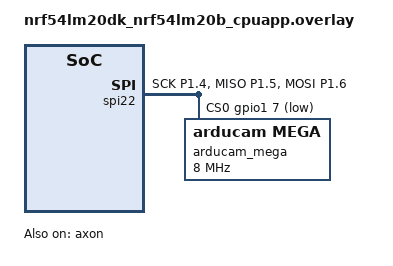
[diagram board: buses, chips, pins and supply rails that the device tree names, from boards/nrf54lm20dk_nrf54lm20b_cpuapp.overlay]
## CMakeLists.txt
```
# Copyright (c) 2026 Nordic Semiconductor
# SPDX-License-Identifier: LicenseRef-Nordic-5-Clause

cmake_minimum_required(VERSION 3.20.0)

# Re-use the arducam_mega DT binding from person_detection. This must come
# before find_package(Zephyr) so the binding is picked up during DT pass.
list(APPEND DTS_ROOT ${CMAKE_CURRENT_SOURCE_DIR}/../person_detection)

find_package(Zephyr REQUIRED HINTS $ENV{ZEPHYR_BASE})
project(finger_counter)

target_sources(app PRIVATE
  src/main.c
  ../person_detection/src/drivers/arducam_mega.c
)

target_include_directories(app PRIVATE
  ../person_detection/src/drivers
)

# Edge Impulse SDK glue (mirrors samples/edge_impulse/hello_ei).
zephyr_compile_definitions(
  EI_C_LINKAGE=1
  EIDSP_SIGNAL_C_FN_POINTER=1
)

zephyr_compile_options(
  -Wno-double-promotion
  -Wno-unused
  -Wno-sign-compare
  -Wno-maybe-uninitialized
)

string(CONFIGURE ${CONFIG_EDGE_IMPULSE_PATH} CONFIG_EDGE_IMPULSE_PATH)

if(NOT IS_ABSOLUTE ${CONFIG_EDGE_IMPULSE_PATH})
  set(CONFIG_EDGE_IMPULSE_PATH ${APPLICATION_SOURCE_DIR}/${CONFIG_EDGE_IMPULSE_PATH})
endif()

set(FETCH_CONTENT_NAME edge_impulse)

include(FetchContent)

FetchContent_Declare(
    ${FETCH_CONTENT_NAME}
    URL ${CONFIG_EDGE_IMPULSE_PATH}
)

FetchContent_MakeAvailable(${FETCH_CONTENT_NAME})

if(${CONFIG_NRF_AXON})
  zephyr_compile_definitions(
    NRF_AXON_MODEL_NAME=${CONFIG_NRF_AXON_MODEL_NAME}
  )

  zephyr_include_directories(${edge_impulse_SOURCE_DIR})
  zephyr_include_directories(${edge_impulse_SOURCE_DIR}/nordic-axon-model)
endif()
```

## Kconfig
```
#
# Copyright (c) 2026 Nordic Semiconductor
#
# SPDX-License-Identifier: LicenseRef-Nordic-5-Clause
#

mainmenu "Finger counter inference application"

config EDGE_IMPULSE_PATH
	string "Edge Impulse library path"
	default "finger_counter_v2.zip"
	help
	  Local file path of the Edge Impulse deployment archive. Build with
	  the "Nordic Axon NPU Library" deployment format from Edge Impulse
	  Studio, place the resulting zip into the application directory,
	  and rename it (or update this option) to match.

config FINGER_COUNTER_INFERENCE_INTERVAL_MS
	int "Delay between inferences (ms)"
	default 200
	help
	  Sleep between consecutive inferences. 0 disables the sleep so the
	  app runs as fast as the camera + Axon allow.

source "Kconfig.zephyr"
```

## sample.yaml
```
sample:
  description: Live finger-count classification using Edge Impulse on Axon NPU
  name: finger_counter

common:
  sysbuild: true
  build_only: true
  tags:
    - ci_build
    - sysbuild

tests:
  applications.finger_counter:
    platform_allow:
      - nrf54lm20dk/nrf54lm20b/cpuapp
    integration_platforms:
      - nrf54lm20dk/nrf54lm20b/cpuapp
```

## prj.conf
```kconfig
# Copyright (c) 2026 Nordic Semiconductor
# SPDX-License-Identifier: LicenseRef-Nordic-5-Clause

# --- Logging on the J-Link VCOM (no binary streaming here, so we use UART)
CONFIG_PRINTK=y
CONFIG_LOG=y
CONFIG_LOG_MODE_IMMEDIATE=y
CONFIG_CBPRINTF_FP_SUPPORT=y

# --- C++ runtime required by Edge Impulse SDK
CONFIG_CPP=y
CONFIG_STD_CPP11=y
CONFIG_REQUIRES_FULL_LIBCPP=y
CONFIG_FP16=n
CONFIG_FPU=y

# --- Edge Impulse SDK
CONFIG_EDGE_IMPULSE_SDK=y

# --- Axon NPU. The interlayer / psum buffer sizes and the model name MUST be
# overridden from the conf_overlay.conf shipped inside the EI deployment zip.
# Build with:
#   west build -- -DEXTRA_CONF_FILE=<unzipped>/conf_overlay.conf
# OR copy the values into a boards/<board>.conf overlay.
CONFIG_NRF_AXON=y
CONFIG_NRF_AXON_INTERLAYER_BUFFER_SIZE=262144
CONFIG_NRF_AXON_PSUM_BUFFER_SIZE=0

# --- Camera (Arducam Mega on SPIM22)
CONFIG_SPI=y
CONFIG_VIDEO=y
CONFIG_VIDEO_BUFFER_POOL_HEAP_SIZE=2200
CONFIG_VIDEO_BUFFER_POOL_NUM_MAX=4

# --- GPIO for status LED
CONFIG_GPIO=y

# --- Heap. EI's ei_malloc() resolves to picolibc malloc(), NOT k_malloc().
# Picolibc's arena is sized by CONFIG_COMMON_LIBC_MALLOC_ARENA_SIZE. The
# Zephyr default of -1 means "use all remaining RAM" which is exactly what
# we want — the DSP block needs a single ~192 KiB allocation
# (1 * EI_CLASSIFIER_NN_INPUT_FRAME_SIZE * sizeof(float)) and assorted
# small ones. We deliberately leave CONFIG_HEAP_MEM_POOL_SIZE at 0 because
# it would steal RAM from picolibc's arena.

# --- Misc
CONFIG_ASSERT=y
# The Nordic Axon inferencing engine puts an int8 input_vector[w*h*channels]
# VLA on the main thread's stack (see edge-impulse-sdk/classifier/
# inferencing_engines/nordic_axon.h). For a 128x128 RGB model that's 48 KiB,
# plus ~8 KiB normal stack usage during inference.
CONFIG_MAIN_STACK_SIZE=65536
```

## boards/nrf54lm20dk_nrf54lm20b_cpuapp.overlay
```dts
/*
 * Copyright (c) 2026 Nordic Semiconductor ASA
 * SPDX-License-Identifier: LicenseRef-Nordic-5-Clause
 *
 * Arducam Mega on SPIM22 (same pin map as applications/person_detection)
 * plus Axon NPU enable for Edge Impulse acceleration.
 */

&axon {
	status = "okay";
};

&pinctrl {
	spi22_default: spi22_default {
		group1 {
			psels = <NRF_PSEL(SPIM_SCK, 1, 4)>,
				<NRF_PSEL(SPIM_MISO, 1, 5)>,
				<NRF_PSEL(SPIM_MOSI, 1, 6)>;
			bias-pull-down;
		};
	};

	spi22_sleep: spi22_sleep {
		group1 {
			psels = <NRF_PSEL(SPIM_SCK, 1, 4)>,
				<NRF_PSEL(SPIM_MISO, 1, 5)>,
				<NRF_PSEL(SPIM_MOSI, 1, 6)>;
			bias-pull-down;
			low-power-enable;
		};
	};
};

&spi22 {
	compatible = "nordic,nrf-spim";
	status = "okay";
	pinctrl-0 = <&spi22_default>;
	pinctrl-1 = <&spi22_sleep>;
	pinctrl-names = "default", "sleep";
	overrun-character = <0x00>;
	zephyr,pm-device-runtime-auto;
	cs-gpios = <&gpio1 7 GPIO_ACTIVE_LOW>;

	arducam_mega: arducam-mega@0 {
		compatible = "arducam,mega";
		reg = <0>;
		spi-max-frequency = <8000000>;
		status = "okay";
	};
};
```

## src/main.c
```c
/*
 * Copyright (c) 2026 Nordic Semiconductor ASA
 *
 * SPDX-License-Identifier: LicenseRef-Nordic-5-Clause
 *
 * Live finger-count classification:
 *   - Continuously captures RGB565 frames from an Arducam Mega
 *   - Converts each frame into the packed-0xRRGGBB float layout expected by
 *     the Edge Impulse image processing block
 *   - Runs run_classifier() on the Axon NPU (or CPU, depending on the EI
 *     deployment archive supplied via CONFIG_EDGE_IMPULSE_PATH)
 *   - Prints the top class and confidence to the console / RTT log
 *
 * The Edge Impulse zip must be a "Nordic Axon NPU Library" (or "Zephyr
 * library" for CPU fallback) export from Edge Impulse Studio. The training
 * impulse must use Image input at the resolution defined by EI_CLASSIFIER_INPUT_*
 * macros; this file uses those macros directly so it adapts automatically.
 */

#include <stdint.h>
#include <string.h>

#include <zephyr/device.h>
#include <zephyr/drivers/gpio.h>
#include <zephyr/drivers/video.h>
#include <zephyr/kernel.h>
#include <zephyr/logging/log.h>

#include <edge-impulse-sdk/dsp/numpy_types.h>
#include <edge-impulse-sdk/classifier/ei_classifier_types.h>
/* model_metadata.h (which defines EI_CLASSIFIER_*) is pulled in transitively
 * via ei_classifier_types.h. */

LOG_MODULE_REGISTER(finger_counter, LOG_LEVEL_INF);

#define AE_WARMUP_FRAMES 4

#if EI_CLASSIFIER_INPUT_WIDTH != EI_CLASSIFIER_INPUT_HEIGHT
#warning "Non-square model input; the camera will be configured to width x height directly."
#endif

#define CAM_WIDTH  EI_CLASSIFIER_INPUT_WIDTH
#define CAM_HEIGHT EI_CLASSIFIER_INPUT_HEIGHT
#define FRAME_RGB565_BYTES ((CAM_WIDTH) * (CAM_HEIGHT) * 2)

/* The Image processing block packs one pixel into one float, so the DSP
 * input frame contains width*height floats. EI_CLASSIFIER_RAW_SAMPLE_COUNT
 * holds that value; EI_CLASSIFIER_RAW_SAMPLES_PER_FRAME is unrelated (=1
 * for image impulses). */
BUILD_ASSERT(EI_CLASSIFIER_RAW_SAMPLE_COUNT == (CAM_WIDTH * CAM_HEIGHT),
	"Edge Impulse model expects one float per pixel - verify the impulse "
	"uses the Image input block (RGB).");

/* Captured RGB565 frame buffer (sensor-side). The packed-RGB888 floats EI
 * expects are computed on demand in get_features() so we don't need to keep
 * a second 64 KiB scratch buffer in RAM. */
static uint8_t  rgb565_frame[FRAME_RGB565_BYTES];

/* Snapshot of the first four floats EI actually pulled via get_features().
 * Logged once per inference so we can confirm the model is receiving varying
 * data, not a constant. */
static uint32_t ei_first_pixels[4];
static bool     ei_first_pixels_valid;

static const struct gpio_dt_spec led_active =
	GPIO_DT_SPEC_GET(DT_ALIAS(led0), gpios);

/* See edge-impulse-sdk/classifier/ei_run_classifier.h. */
extern EI_IMPULSE_ERROR run_classifier(signal_t *signal,
				       ei_impulse_result_t *result, bool debug);

static int led_init(const struct gpio_dt_spec *spec)
{
	if (!gpio_is_ready_dt(spec)) {
		return -ENODEV;
	}
	return gpio_pin_configure_dt(spec, GPIO_OUTPUT_INACTIVE);
}

static int capture_one_frame_into_buf(const struct device *video)
{
	size_t total = 0;
	int err;

	while (total < FRAME_RGB565_BYTES) {
		struct video_buffer *vbuf;

		err = video_dequeue(video, &vbuf, K_FOREVER);
		if (err == -EAGAIN) {
			continue;
		}
		if (err) {
			LOG_ERR("video_dequeue failed (err %d)", err);
			return err;
		}

		const size_t room = FRAME_RGB565_BYTES - total;
		const size_t chunk = MIN(vbuf->bytesused, room);

		memcpy(&rgb565_frame[total], vbuf->buffer, chunk);
		total += chunk;

		vbuf->type = VIDEO_BUF_TYPE_OUTPUT;
		(void)video_enqueue(video, vbuf);
	}

	return 0;
}

/* Decode one RGB565 pixel at index `p` into 0x00RRGGBB. */
static inline uint32_t rgb565_pixel(size_t p)
{
	const uint8_t hi = rgb565_frame[p * 2 + 0];
	const uint8_t lo = rgb565_frame[p * 2 + 1];
	const uint16_t pix = ((uint16_t)hi << 8) | lo;

	const uint8_t r5 = (pix >> 11) & 0x1F;
	const uint8_t g6 = (pix >> 5)  & 0x3F;
	const uint8_t b5 =  pix        & 0x1F;

	const uint8_t r8 = (uint8_t)((r5 << 3) | (r5 >> 2));
	const uint8_t g8 = (uint8_t)((g6 << 2) | (g6 >> 4));
	const uint8_t b8 = (uint8_t)((b5 << 3) | (b5 >> 2));

	return ((uint32_t)r8 << 16) | ((uint32_t)g8 << 8) | b8;
}

/* EI signal_t.get_data callback: compute packed-RGB888 floats on the fly from
 * the captured RGB565 buffer. EI's Image processing block treats each float
 * as a uint32 with layout 0x00RRGGBB (see edge-impulse-sdk/classifier/
 * ei_run_dsp.h:extract_image_features). */
static int get_features(size_t offset, size_t length, float *out_ptr)
{
	for (size_t i = 0; i < length; i++) {
		const uint32_t packed = rgb565_pixel(offset + i);
		out_ptr[i] = (float)packed;
	}

	/* PROBE #2: remember the first four pixels EI actually fetched. The
	 * DSP block may request data in any order/chunk, so snapshot the
	 * lowest-offset fetch we see this inference. */
	if (offset == 0 && length >= 4 && !ei_first_pixels_valid) {
		ei_first_pixels[0] = (uint32_t)out_ptr[0];
		ei_first_pixels[1] = (uint32_t)out_ptr[1];
		ei_first_pixels[2] = (uint32_t)out_ptr[2];
		ei_first_pixels[3] = (uint32_t)out_ptr[3];
		ei_first_pixels_valid = true;
	}
	return 0;
}

/* PROBE #1: aggregate camera-side statistics over the freshly captured
 * RGB565 frame. If `meanRGB` and the corner samples don't change when the
 * lens is covered, the camera/SPI side is frozen. */
static void log_camera_stats(void)
{
	uint32_t sum_r = 0, sum_g = 0, sum_b = 0;
	uint8_t  min_lum = 255, max_lum = 0;
	const size_t n = (size_t)CAM_WIDTH * (size_t)CAM_HEIGHT;

	for (size_t p = 0; p < n; p++) {
		const uint32_t px = rgb565_pixel(p);
		const uint8_t r = (px >> 16) & 0xFF;
		const uint8_t g = (px >> 8)  & 0xFF;
		const uint8_t b = (px)       & 0xFF;
		sum_r += r;
		sum_g += g;
		sum_b += b;
		const uint8_t lum = (uint8_t)((r + g + b) / 3);
		if (lum < min_lum) min_lum = lum;
		if (lum > max_lum) max_lum = lum;
	}

	const uint32_t TL = rgb565_pixel(0);
	const uint32_t TR = rgb565_pixel((size_t)(CAM_WIDTH - 1));
	const uint32_t BL = rgb565_pixel((size_t)(CAM_HEIGHT - 1) * CAM_WIDTH);
	const uint32_t BR = rgb565_pixel((size_t)CAM_WIDTH * CAM_HEIGHT - 1);
	const uint32_t C  = rgb565_pixel((size_t)(CAM_HEIGHT / 2) * CAM_WIDTH +
					 (size_t)(CAM_WIDTH / 2));

	// LOG_INF("cam: meanRGB=(%u,%u,%u) lum=%u..%u",
	// 	(unsigned)(sum_r / n), (unsigned)(sum_g / n),
	// 	(unsigned)(sum_b / n), min_lum, max_lum);
	// LOG_INF("     TL=%06x TR=%06x BL=%06x BR=%06x C=%06x",
	// 	(unsigned)TL, (unsigned)TR, (unsigned)BL, (unsigned)BR,
	// 	(unsigned)C);
}

#if EI_CLASSIFIER_OBJECT_DETECTION == 1

/* Object-detection (FOMO / YOLO / etc.) path: print every box above the
 * model's training-time confidence threshold. */
static void log_result(const ei_impulse_result_t *res)
{
	LOG_INF("=> %u detection(s)  (dsp %lld us, cls %lld us)",
		(unsigned)res->bounding_boxes_count,
		res->timing.dsp_us,
		res->timing.classification_us);

	for (uint32_t i = 0; i < res->bounding_boxes_count; i++) {
		const ei_impulse_result_bounding_box_t *b = &res->bounding_boxes[i];

		LOG_INF("   [%u] %-10s  %.3f  @ x=%u y=%u w=%u h=%u",
			(unsigned)i, b->label, (double)b->value,
			(unsigned)b->x, (unsigned)b->y,
			(unsigned)b->width, (unsigned)b->height);
	}
}

#else /* image classification */

static void log_result(const ei_impulse_result_t *res)
{
	size_t top_i = 0;
	float top_v = res->classification[0].value;

	for (size_t i = 1; i < EI_CLASSIFIER_LABEL_COUNT; i++) {
		if (res->classification[i].value > top_v) {
			top_v = res->classification[i].value;
			top_i = i;
		}
	}

	LOG_INF("=> %-10s  %.3f  (dsp %lld us, cls %lld us)",
		res->classification[top_i].label,
		(double)top_v,
		res->timing.dsp_us,
		res->timing.classification_us);

	char line[160];
	int n = 0;

	for (size_t i = 0; i < EI_CLASSIFIER_LABEL_COUNT; i++) {
		int w = snprintk(line + n, sizeof(line) - n, "%s%s=%.2f",
				 (i == 0 ? "" : " "),
				 res->classification[i].label,
				 (double)res->classification[i].value);
		if (w <= 0 || (size_t)(n + w) >= sizeof(line)) {
			break;
		}
		n += w;
	}
	LOG_INF("   %s", line);
}

#endif /* EI_CLASSIFIER_OBJECT_DETECTION */

int main(void)
{
	int err;
	const struct device *video = DEVICE_DT_GET(DT_NODELABEL(arducam_mega));
	struct video_buffer *vbufs[2];
	struct video_format fmt = {
		.type = VIDEO_BUF_TYPE_INPUT,
		.pixelformat = VIDEO_PIX_FMT_RGB565,
		.width = CAM_WIDTH,
		.height = CAM_HEIGHT,
		.pitch = CAM_WIDTH * 2,
	};

	if (led_init(&led_active)) {
		LOG_ERR("LED init failed");
		return -1;
	}

	if (!device_is_ready(video)) {
		LOG_ERR("Arducam not ready");
		return -1;
	}

	err = video_set_format(video, &fmt);
	if (err) {
		LOG_ERR("video_set_format(%ux%u) failed (err %d) — does the "
			"camera support this resolution?",
			(unsigned)CAM_WIDTH, (unsigned)CAM_HEIGHT, err);
		return -1;
	}

	for (size_t i = 0; i < ARRAY_SIZE(vbufs); i++) {
		vbufs[i] = video_buffer_alloc(1024, K_NO_WAIT);
		if (!vbufs[i]) {
			LOG_ERR("video_buffer_alloc(%u) failed", (unsigned)i);
			return -1;
		}
		vbufs[i]->type = VIDEO_BUF_TYPE_OUTPUT;
		(void)video_enqueue(video, vbufs[i]);
	}

	err = video_stream_start(video, VIDEO_BUF_TYPE_OUTPUT);
	if (err) {
		LOG_ERR("video_stream_start failed (err %d)", err);
		return -1;
	}

	LOG_INF("Finger counter - model '%s', input %ux%u, %d label(s), %s",
		EI_CLASSIFIER_PROJECT_NAME,
		(unsigned)CAM_WIDTH, (unsigned)CAM_HEIGHT,
		EI_CLASSIFIER_LABEL_COUNT,
#if EI_CLASSIFIER_OBJECT_DETECTION == 1
		"object detection (FOMO/YOLO)"
#else
		"image classification"
#endif
		);

	LOG_INF("Discarding %u AE warm-up frames", AE_WARMUP_FRAMES);
	for (uint8_t i = 0; i < AE_WARMUP_FRAMES; i++) {
		err = capture_one_frame_into_buf(video);
		if (err) {
			return -1;
		}
	}
	LOG_INF("Starting live classification");

	while (true) {
		err = capture_one_frame_into_buf(video);
		if (err) {
			k_sleep(K_MSEC(200));
			continue;
		}

		(void)gpio_pin_toggle_dt(&led_active);

		log_camera_stats();
		ei_first_pixels_valid = false;

		signal_t signal = {
			.get_data = get_features,
			.total_length = EI_CLASSIFIER_DSP_INPUT_FRAME_SIZE,
		};
		ei_impulse_result_t result;

		EI_IMPULSE_ERROR r = run_classifier(&signal, &result, false);
		if (r != EI_IMPULSE_OK) {
			LOG_ERR("run_classifier failed (err %d)", r);
			continue;
		}

		if (ei_first_pixels_valid) {
			LOG_INF("ei : first4=%06x %06x %06x %06x",
				(unsigned)ei_first_pixels[0],
				(unsigned)ei_first_pixels[1],
				(unsigned)ei_first_pixels[2],
				(unsigned)ei_first_pixels[3]);
		} else {
			LOG_WRN("ei : DSP did not fetch offset=0 — signal path broken");
		}

		log_result(&result);

		if (CONFIG_FINGER_COUNTER_INFERENCE_INTERVAL_MS > 0) {
			k_sleep(K_MSEC(CONFIG_FINGER_COUNTER_INFERENCE_INTERVAL_MS));
		}
	}

	return 0;
}
```
